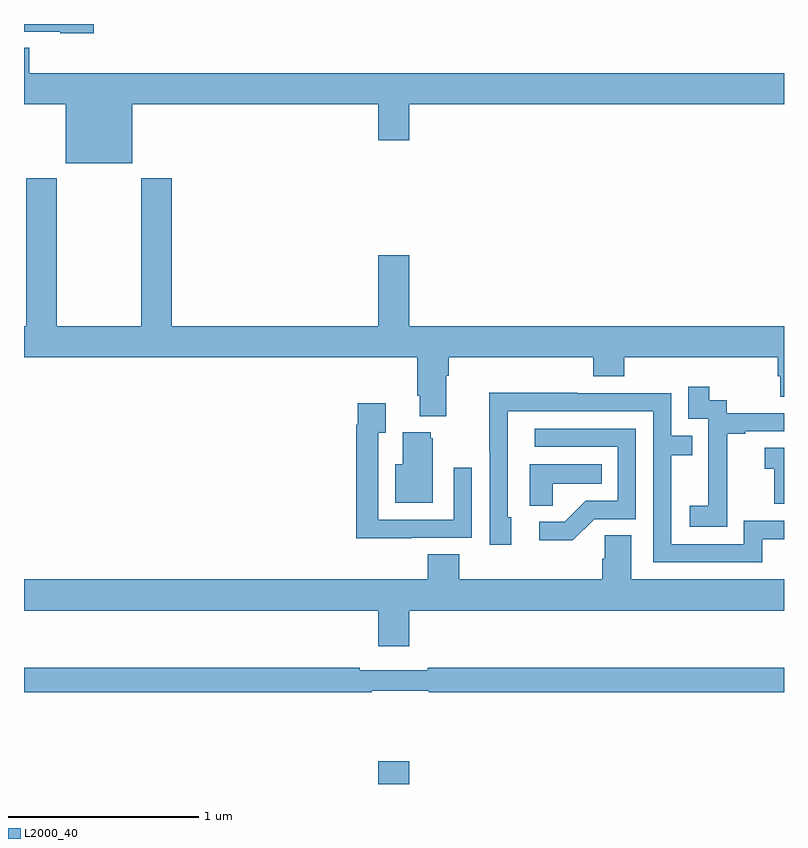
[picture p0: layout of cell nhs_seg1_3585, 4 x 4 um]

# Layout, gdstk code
import gdstk
lib = gdstk.Library(unit=1e-6, precision=1e-09)
def R(c, l, rs):  # rectangles x0, y0, x1, y1
    for r in rs: c.add(gdstk.rectangle(r[:2], r[2:], *l))
def P(c, l, *ps):  # polygons
    for p in ps: c.add(gdstk.Polygon(p, *l))
L2000_40 = (2000, 40)

nhs_seg1_3585 = lib.new_cell('nhs_seg1_3585')
R(nhs_seg1_3585, L2000_40, [(308.864,504.199,309.028,504.319)])
P(nhs_seg1_3585, L2000_40, [(307.367,508.199),(307,508.199),(307,508.158),(307.191,508.158),(307.191,508.151),(307.367,508.151)],
  [(307.57,507.776),(308.864,507.776),(308.864,507.588),(309.028,507.588),(309.028,507.776),(311,507.776),(311,507.94),(307.028,507.94),(307.028,508.073),(307,508.073),(307,507.776),(307.22,507.776),(307.22,507.467),(307.57,507.467)],
  [(309.223,506.348),(309.236,506.348),(309.236,506.444),(309.995,506.444),(309.995,506.345),(310.16,506.345),(310.16,506.444),(310.967,506.444),(310.967,506.346),(310.979,506.346),(310.979,506.236),(311,506.236),(311,506.608),(309.028,506.608),(309.028,506.983),(308.864,506.983),(308.864,506.608),(307.778,506.608),(307.778,507.388),(307.618,507.388),(307.618,506.608),(307.173,506.608),(307.173,507.388),(307.013,507.388),(307.013,506.608),(307,506.608),(307,506.444),(309.071,506.444),(309.071,506.242),(309.083,506.242),(309.083,506.135),(309.223,506.135)],
  [(310.701,505.759),(310.7,505.759),(310.7,506.043),(310.795,506.043),(310.795,506.055),(311,506.055),(311,506.151),(310.698,506.151),(310.698,506.22),(310.606,506.22),(310.606,506.29),(310.497,506.29),(310.497,506.121),(310.602,506.121),(310.602,505.892),(310.601,505.892),(310.601,505.663),(310.503,505.663),(310.503,505.553),(310.701,505.553)],
  [(310.885,505.488),(311,505.488),(311,505.584),(310.788,505.584),(310.788,505.461),(310.407,505.461),(310.407,505.93),(310.517,505.93),(310.517,506.031),(310.407,506.031),(310.407,506.256),(309.911,506.256),(309.911,506.258),(309.448,506.258),(309.448,505.951),(309.45,505.951),(309.45,505.458),(309.565,505.458),(309.565,505.602),(309.546,505.602),(309.546,506.16),(310.311,506.16),(310.311,505.365),(310.885,505.365)],
  [(309.041,505.494),(309.357,505.494),(309.357,505.864),(309.261,505.864),(309.261,505.59),(308.865,505.59),(308.865,506.047),(308.905,506.047),(308.905,506.203),(308.757,506.203),(308.757,506.09),(308.749,506.09),(308.749,505.493),(309.041,505.493)],
  [(310.002,505.593),(310.221,505.593),(310.221,506.07),(309.687,506.07),(309.687,505.974),(310.125,505.974),(310.125,505.689),(309.956,505.689),(309.845,505.578),(309.711,505.578),(309.711,505.481),(309.889,505.481)],
  [(309.151,506.019),(309.14,506.019),(309.14,506.05),(308.993,506.05),(308.993,505.882),(308.954,505.882),(308.954,505.679),(309.151,505.679)],
  [(311,505.969),(310.899,505.969),(310.899,505.859),(310.948,505.859),(310.948,505.674),(311,505.674)],
  [(309.783,505.778),(310.04,505.778),(310.04,505.882),(309.662,505.882),(309.662,505.663),(309.783,505.663)],
  [(309.028,505.112),(311,505.112),(311,505.276),(310.195,505.276),(310.195,505.508),(310.056,505.508),(310.056,505.385),(310.043,505.385),(310.043,505.276),(309.29,505.276),(309.29,505.409),(309.125,505.409),(309.125,505.276),(307,505.276),(307,505.112),(308.864,505.112),(308.864,504.924),(309.028,504.924)],
  [(308.83,504.69),(309.13,504.69),(309.13,504.682),(311,504.682),(311,504.811),(309.124,504.811),(309.124,504.798),(308.768,504.798),(308.768,504.811),(307,504.811),(307,504.682),(308.83,504.682)])

lib.write_gds('nhs_seg1_3585.gds')
